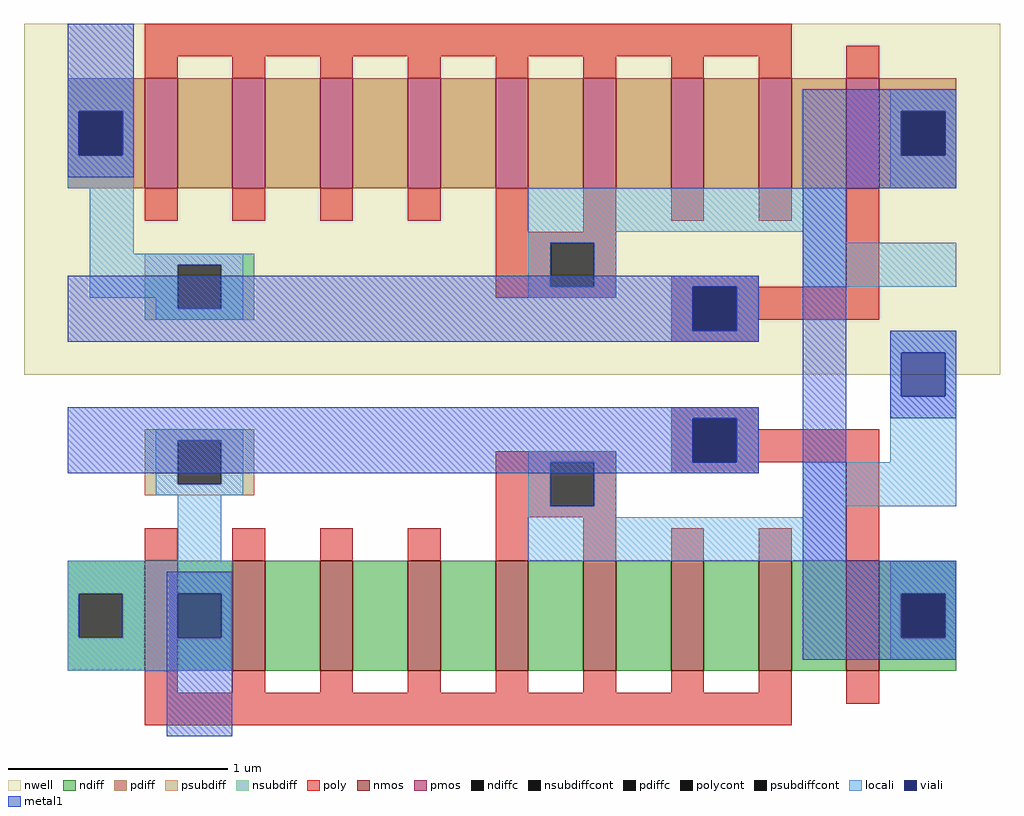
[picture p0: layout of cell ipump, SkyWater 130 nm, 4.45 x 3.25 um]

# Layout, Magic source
magic
tech sky130A
<< nwell >>
rect -360 140 85 300
<< nmos >>
rect -305 5 -290 55
rect -265 5 -250 55
rect -225 5 -210 55
rect -185 5 -170 55
rect -145 5 -130 55
rect -105 5 -90 55
rect -65 5 -50 55
rect -25 5 -10 55
rect 15 5 30 55
<< pmos >>
rect -305 225 -290 275
rect -265 225 -250 275
rect -225 225 -210 275
rect -185 225 -170 275
rect -145 225 -130 275
rect -105 225 -90 275
rect -65 225 -50 275
rect -25 225 -10 275
rect 15 225 30 275
<< ndiff >>
rect -340 40 -305 55
rect -340 20 -335 40
rect -315 20 -305 40
rect -340 5 -305 20
rect -290 5 -265 55
rect -250 5 -225 55
rect -210 5 -185 55
rect -170 5 -145 55
rect -130 5 -105 55
rect -90 5 -65 55
rect -50 5 -25 55
rect -10 5 15 55
rect 30 40 65 55
rect 30 20 40 40
rect 60 20 65 40
rect 30 5 65 20
<< pdiff >>
rect -340 260 -305 275
rect -340 240 -335 260
rect -315 240 -305 260
rect -340 225 -305 240
rect -290 225 -265 275
rect -250 225 -225 275
rect -210 225 -185 275
rect -170 225 -145 275
rect -130 225 -105 275
rect -90 225 -65 275
rect -50 225 -25 275
rect -10 225 15 275
rect 30 260 65 275
rect 30 240 40 260
rect 60 240 65 260
rect 30 225 65 240
<< ndiffc >>
rect -335 20 -315 40
rect 40 20 60 40
<< pdiffc >>
rect -335 240 -315 260
rect 40 240 60 260
<< psubdiff >>
rect -305 110 -255 115
rect -305 90 -290 110
rect -270 90 -255 110
rect -305 85 -255 90
<< nsubdiff >>
rect -305 190 -255 195
rect -305 170 -290 190
rect -270 170 -255 190
rect -305 165 -255 170
<< psubdiffcont >>
rect -290 90 -270 110
<< nsubdiffcont >>
rect -290 170 -270 190
<< poly >>
rect -305 285 -10 300
rect -305 275 -290 285
rect -265 275 -250 285
rect -225 275 -210 285
rect -185 275 -170 285
rect -145 275 -130 285
rect -105 275 -90 285
rect -65 275 -50 285
rect -25 275 -10 285
rect 15 275 30 290
rect -305 210 -290 225
rect -265 210 -250 225
rect -225 210 -210 225
rect -185 210 -170 225
rect -145 205 -130 225
rect -105 205 -90 225
rect -65 210 -50 225
rect -25 210 -10 225
rect -145 200 -90 205
rect -145 180 -120 200
rect -100 180 -90 200
rect -145 175 -90 180
rect -65 180 -25 185
rect 15 180 30 225
rect -65 160 -55 180
rect -35 165 30 180
rect -35 160 -25 165
rect -65 155 -25 160
rect -65 120 -25 125
rect -145 100 -90 105
rect -145 80 -120 100
rect -100 80 -90 100
rect -65 100 -55 120
rect -35 115 -25 120
rect -35 100 30 115
rect -65 95 -25 100
rect -145 75 -90 80
rect -305 55 -290 70
rect -265 55 -250 70
rect -225 55 -210 70
rect -185 55 -170 70
rect -145 55 -130 75
rect -105 55 -90 75
rect -65 55 -50 70
rect -25 55 -10 70
rect 15 55 30 100
rect -305 -5 -290 5
rect -265 -5 -250 5
rect -225 -5 -210 5
rect -185 -5 -170 5
rect -145 -5 -130 5
rect -105 -5 -90 5
rect -65 -5 -50 5
rect -25 -5 -10 5
rect -305 -20 -10 -5
rect 15 -10 30 5
<< polycont >>
rect -120 180 -100 200
rect -55 160 -35 180
rect -120 80 -100 100
rect -55 100 -35 120
<< locali >>
rect -340 260 -310 275
rect -340 240 -335 260
rect -315 240 -310 260
rect -340 225 -310 240
rect 35 260 65 270
rect 35 240 40 260
rect 60 240 65 260
rect 35 225 65 240
rect -330 195 -310 225
rect -130 205 15 225
rect -130 200 -90 205
rect -330 190 -260 195
rect -330 175 -290 190
rect -300 170 -290 175
rect -270 170 -260 190
rect -130 180 -120 200
rect -100 180 -90 200
rect -5 200 15 205
rect -130 175 -90 180
rect -65 180 -25 185
rect -5 180 65 200
rect -300 165 -260 170
rect -65 160 -55 180
rect -35 160 -25 180
rect -65 155 -25 160
rect 35 150 65 160
rect 35 130 40 150
rect 60 130 65 150
rect -65 120 -25 125
rect -300 110 -260 115
rect -300 90 -290 110
rect -270 90 -260 110
rect -300 85 -260 90
rect -130 100 -90 105
rect -290 55 -270 85
rect -130 80 -120 100
rect -100 80 -90 100
rect -65 100 -55 120
rect -35 100 -25 120
rect 35 100 65 130
rect -65 95 -25 100
rect -130 75 -90 80
rect -5 80 65 100
rect -5 75 15 80
rect -130 55 15 75
rect -340 40 -265 55
rect -340 20 -335 40
rect -315 20 -290 40
rect -270 20 -265 40
rect -340 5 -265 20
rect 35 40 65 55
rect 35 20 40 40
rect 60 20 65 40
rect 35 10 65 20
<< viali >>
rect -335 240 -315 260
rect 40 240 60 260
rect -55 160 -35 180
rect 40 130 60 150
rect -55 100 -35 120
rect -290 20 -270 40
rect 40 20 60 40
<< metal1 >>
rect -340 260 -310 300
rect -340 240 -335 260
rect -315 240 -310 260
rect -340 230 -310 240
rect -5 260 65 270
rect -5 240 40 260
rect 60 240 65 260
rect -5 225 65 240
rect -340 180 -25 185
rect -340 160 -55 180
rect -35 160 -25 180
rect -340 155 -25 160
rect -340 120 -25 125
rect -340 100 -55 120
rect -35 100 -25 120
rect -340 95 -25 100
rect -5 55 15 225
rect 35 150 65 160
rect 35 130 40 150
rect 60 130 65 150
rect 35 120 65 130
rect -295 40 -265 50
rect -295 20 -290 40
rect -270 20 -265 40
rect -295 -25 -265 20
rect -5 40 65 55
rect -5 20 40 40
rect 60 20 65 40
rect -5 10 65 20
<< end >>
